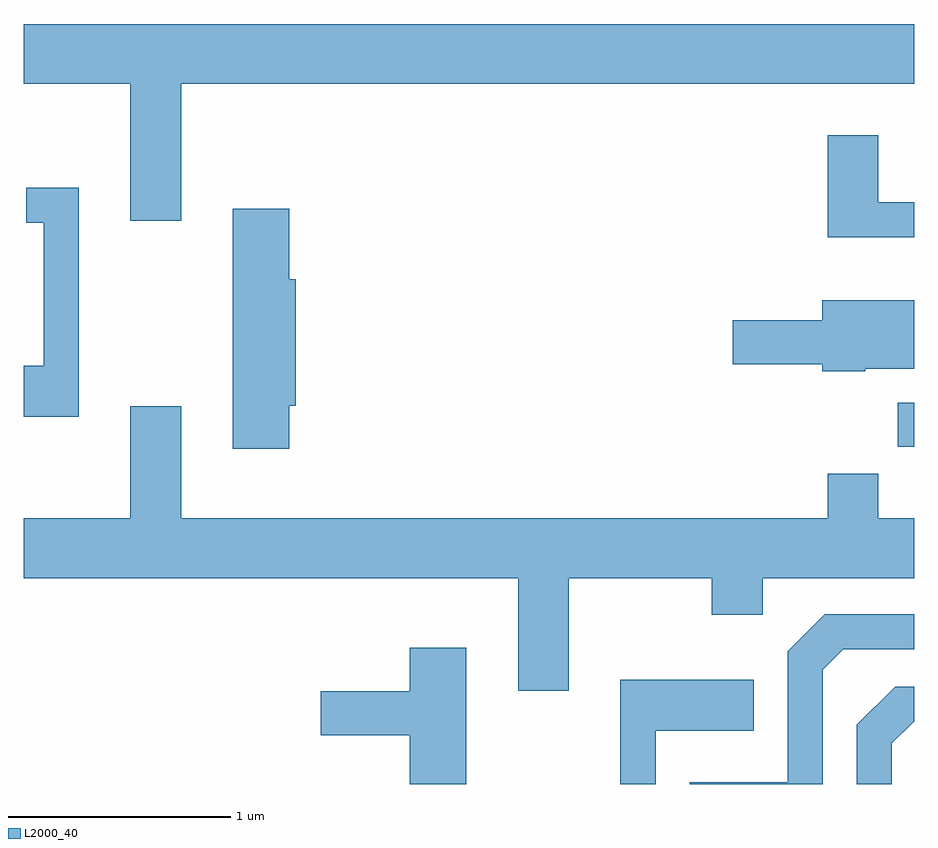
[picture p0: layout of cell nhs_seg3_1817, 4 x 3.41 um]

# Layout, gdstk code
import gdstk
lib = gdstk.Library(unit=1e-6, precision=1e-09)
def R(c, l, rs):  # rectangles x0, y0, x1, y1
    for r in rs: c.add(gdstk.rectangle(r[:2], r[2:], *l))
def P(c, l, *ps):  # polygons
    for p in ps: c.add(gdstk.Polygon(p, *l))
L2000_40 = (2000, 40)

nhs_seg3_1817 = lib.new_cell('nhs_seg3_1817')
R(nhs_seg3_1817, L2000_40, [(241.536,1215.406,241.611,1215.604)])
P(nhs_seg3_1817, L2000_40, [(238.319,1217.036),(241.611,1217.036),(241.611,1217.304),(237.611,1217.304),(237.611,1217.036),(238.091,1217.036),(238.091,1216.421),(238.319,1216.421)],
  [(241.611,1216.504),(241.449,1216.504),(241.449,1216.804),(241.221,1216.804),(241.221,1216.346),(241.611,1216.346)],
  [(237.859,1216.569),(237.623,1216.569),(237.623,1216.411),(237.701,1216.411),(237.701,1215.769),(237.611,1215.769),(237.611,1215.541),(237.859,1215.541)],
  [(238.804,1215.591),(238.834,1215.591),(238.834,1216.159),(238.804,1216.159),(238.804,1216.474),(238.551,1216.474),(238.551,1215.396),(238.804,1215.396)],
  [(241.39,1215.756),(241.609,1215.756),(241.609,1216.064),(241.196,1216.064),(241.196,1215.974),(240.796,1215.974),(240.796,1215.776),(241.196,1215.776),(241.196,1215.746),(241.39,1215.746)],
  [(240.059,1214.816),(240.701,1214.816),(240.701,1214.651),(240.929,1214.651),(240.929,1214.816),(241.611,1214.816),(241.611,1215.084),(241.449,1215.084),(241.449,1215.284),(241.221,1215.284),(241.221,1215.084),(238.319,1215.084),(238.319,1215.589),(238.091,1215.589),(238.091,1215.084),(237.611,1215.084),(237.611,1214.816),(239.831,1214.816),(239.831,1214.311),(240.059,1214.311)],
  [(241.199,1214.404),(241.292,1214.496),(241.611,1214.496),(241.611,1214.654),(241.209,1214.654),(241.041,1214.487),(241.041,1213.899),(240.601,1213.899),(240.601,1213.892),(241.199,1213.892)],
  [(239.599,1214.504),(239.346,1214.504),(239.346,1214.309),(238.946,1214.309),(238.946,1214.111),(239.346,1214.111),(239.346,1213.892),(239.599,1213.892)],
  [(240.449,1214.131),(240.889,1214.131),(240.889,1214.359),(240.291,1214.359),(240.291,1213.892),(240.449,1213.892)],
  [(241.509,1214.074),(241.607,1214.171),(241.611,1214.171),(241.611,1214.329),(241.524,1214.329),(241.351,1214.157),(241.351,1213.892),(241.509,1213.892)])

lib.write_gds('nhs_seg3_1817.gds')
